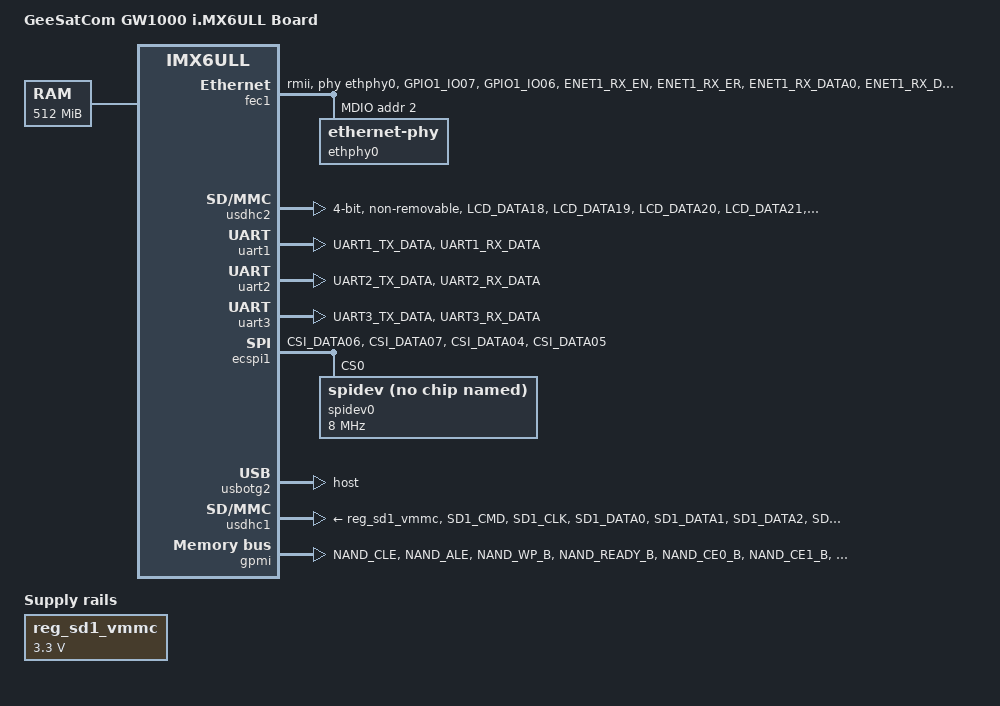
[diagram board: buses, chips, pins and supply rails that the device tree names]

/dts-v1/;

#include <dt-bindings/input/input.h>
#include "imx6ull.dtsi"

/ {
    model = "GeeSatCom GW1000 i.MX6ULL Board";
    compatible = "fsl,imx6ull-14x14-evk", "fsl,imx6ull";

	chosen {
		stdout-path = &uart1;
	};

    memory@80000000 {
		device_type = "memory";
		reg = <0x80000000 0x20000000>;
	};

	regulators {
		compatible = "simple-bus";
		#address-cells = <1>;
		#size-cells = <0>;

		reg_sd1_vmmc: sd1_regulator {
			compatible = "regulator-fixed";
			regulator-name = "VSD_3V3";
			regulator-min-microvolt = <3300000>;
			regulator-max-microvolt = <3300000>;
			regulator-always-on;
		};
	};
};

&lcdif {
	status = "disabled";
};

&fec1 {
	pinctrl-names = "default";
	pinctrl-0 = <&pinctrl_enet1>;
	phy-mode = "rmii";
	phy-handle = <&ethphy0>;
	phy-reset-gpios = <&gpio5 8 GPIO_ACTIVE_LOW>;
	phy-reset-duration = <10>;
	local-mac-address = [00 06 34 01 01 01];
	status = "okay";

	mdio {
		#address-cells = <1>;
		#size-cells = <0>;

		ethphy0: ethernet-phy@2 {
			reg = <2>;
			micrel,led-mode = <1>;
			clocks = <&clks IMX6UL_CLK_ENET_REF>;
			clock-names = "rmii-ref";
		};
	};
};

&qspi {
	status = "disabled";
};

&usdhc2 {
	status = "disabled";
};

&fec2 {
	status = "disabled";
};

&uart1 {
	pinctrl-names = "default";
	pinctrl-0 = <&pinctrl_uart1>;
	status = "okay";
};

&uart2 {
	pinctrl-names = "default";
	pinctrl-0 = <&pinctrl_uart2>;
	status = "okay";
};

&uart3 {
	pinctrl-names = "default";
	pinctrl-0 = <&pinctrl_uart3>;
	status = "okay";
};

&ecspi1 {
	pinctrl-names = "default";
	pinctrl-0 = <&pinctrl_ecspi1_1 &pinctrl_ecspi1_cs_1>;
	fsl,spi-num-chipselects = <1>;
	//cs-gpios = <&gpio4 26 0>;
	status = "okay";

	spidev0: spidev@0 {
		compatible = "spidev";
		spi-max-frequency = <8000000>;
		reg = <0>;
	};	
};

&usbotg2 {
	dr_mode = "host";
	disable-over-current;
	status = "okay";
};

&usdhc1 {
	pinctrl-names = "default", "state_100mhz", "state_200mhz";
	pinctrl-0 = <&pinctrl_usdhc1>;
	pinctrl-1 = <&pinctrl_usdhc1_100mhz>;
	pinctrl-2 = <&pinctrl_usdhc1_200mhz>;
	keep-power-in-suspend;
	broken-cd;
	vmmc-supply = <&reg_sd1_vmmc>;
	status = "okay";
};

&usdhc2 {
	pinctrl-names = "default";
	pinctrl-0 = <&pinctrl_wifi>;
	bus-width = <4>;
	keep-power-in-suspend;
	enable-sdio-wakeup;
	no-1-8-v;
	non-removable;
	cd-post;
	pm-ignore-notify;
	wifi-host;
	status = "okay";
};

&gpmi {
	pinctrl-names = "default";
	pinctrl-0 = <&pinctrl_gpmi_nand_1>;
	status = "okay";
	nand-on-flash-bbt;
};

&iomuxc {
	pinctrl-names = "default";
	pinctrl-0 = <&pinctrl_gpio3>;

	pinctrl_enet1: enet1grp {
		fsl,pins = <
			MX6UL_PAD_GPIO1_IO07__ENET1_MDC		0x1b0b0
			MX6UL_PAD_GPIO1_IO06__ENET1_MDIO	0x1b0b0
			MX6UL_PAD_ENET1_RX_EN__ENET1_RX_EN	0x1b0b0
			MX6UL_PAD_ENET1_RX_ER__ENET1_RX_ER	0x1b0b0
			MX6UL_PAD_ENET1_RX_DATA0__ENET1_RDATA00	0x1b0b0
			MX6UL_PAD_ENET1_RX_DATA1__ENET1_RDATA01	0x1b0b0
			MX6UL_PAD_ENET1_TX_EN__ENET1_TX_EN	0x1b0b0
			MX6UL_PAD_ENET1_TX_DATA0__ENET1_TDATA00	0x1b0b0
			MX6UL_PAD_ENET1_TX_DATA1__ENET1_TDATA01	0x1b0b0
			MX6UL_PAD_ENET1_TX_CLK__ENET1_REF_CLK1	0x4001b031
		>;
	};

	pinctrl_uart1: uart1grp {
		fsl,pins = <
			MX6UL_PAD_UART1_TX_DATA__UART1_DCE_TX 0x1b0b1
			MX6UL_PAD_UART1_RX_DATA__UART1_DCE_RX 0x1b0b1
		>;
	};

	pinctrl_uart2: uart2grp {
		fsl,pins = <
			MX6UL_PAD_UART2_TX_DATA__UART2_DCE_TX	0x1b0b1
			MX6UL_PAD_UART2_RX_DATA__UART2_DCE_RX	0x1b0b1
		>;
	};

	pinctrl_uart3: uart3grp {
		fsl,pins = <
			MX6UL_PAD_UART3_TX_DATA__UART3_DCE_TX 0x1b0b2
			MX6UL_PAD_UART3_RX_DATA__UART3_DCE_RX 0x1b0b2
		>;
	};

	pinctrl_ecspi1_cs_1: ecspi1_cs_grp-1 {
		fsl,pins = <
			MX6UL_PAD_CSI_DATA05__GPIO4_IO26  0x10b0
		>;
	};

	pinctrl_ecspi1_1: ecspi1grp-1 {
		fsl,pins = <
			MX6UL_PAD_CSI_DATA06__ECSPI1_MOSI 0x10b0
			MX6UL_PAD_CSI_DATA07__ECSPI1_MISO 0x10b0
			MX6UL_PAD_CSI_DATA04__ECSPI1_SCLK 0x10b0
		>;
	};

	pinctrl_gpio3: gpio3-grp {
		fsl,pins = <
			MX6UL_PAD_LCD_DATA07__GPIO3_IO12  0x79
			MX6UL_PAD_LCD_DATA08__GPIO3_IO13  0x79
			MX6UL_PAD_LCD_DATA16__GPIO3_IO21  0x79
		>;
	};

	pinctrl_wifi: wifigrp {
		fsl,pins = <
			MX6UL_PAD_LCD_DATA18__USDHC2_CMD 0x17059
			MX6UL_PAD_LCD_DATA19__USDHC2_CLK 0x10071
			MX6UL_PAD_LCD_DATA20__USDHC2_DATA0 0x17059
			MX6UL_PAD_LCD_DATA21__USDHC2_DATA1 0x17059
			MX6UL_PAD_LCD_DATA22__USDHC2_DATA2 0x17059
			MX6UL_PAD_LCD_DATA23__USDHC2_DATA3 0x17059
			MX6UL_PAD_ENET2_RX_DATA0__GPIO2_IO08 0x03029  /* WL_EN */
			MX6UL_PAD_ENET2_RX_DATA1__GPIO2_IO09 0x03029  /* WL_HOST_WAKE */
			MX6UL_PAD_LCD_DATA06__GPIO3_IO11 0x17059
		>;
	};

	pinctrl_usdhc1: usdhc1grp {
		fsl,pins = <
			MX6UL_PAD_SD1_CMD__USDHC1_CMD     0x17059
			MX6UL_PAD_SD1_CLK__USDHC1_CLK     0x10071
			MX6UL_PAD_SD1_DATA0__USDHC1_DATA0 0x17059
			MX6UL_PAD_SD1_DATA1__USDHC1_DATA1 0x17059
			MX6UL_PAD_SD1_DATA2__USDHC1_DATA2 0x17059
			MX6UL_PAD_SD1_DATA3__USDHC1_DATA3 0x17059
		>;
	};

	pinctrl_usdhc1_100mhz: usdhc1grp100mhz {
		fsl,pins = <
			MX6UL_PAD_SD1_CMD__USDHC1_CMD     0x170b9
			MX6UL_PAD_SD1_CLK__USDHC1_CLK     0x100b9
			MX6UL_PAD_SD1_DATA0__USDHC1_DATA0 0x170b9
			MX6UL_PAD_SD1_DATA1__USDHC1_DATA1 0x170b9
			MX6UL_PAD_SD1_DATA2__USDHC1_DATA2 0x170b9
			MX6UL_PAD_SD1_DATA3__USDHC1_DATA3 0x170b9
		>;
	};

	pinctrl_usdhc1_200mhz: usdhc1grp200mhz {
		fsl,pins = <
			MX6UL_PAD_SD1_CMD__USDHC1_CMD     0x170f9
			MX6UL_PAD_SD1_CLK__USDHC1_CLK     0x100f9
			MX6UL_PAD_SD1_DATA0__USDHC1_DATA0 0x170f9
			MX6UL_PAD_SD1_DATA1__USDHC1_DATA1 0x170f9
			MX6UL_PAD_SD1_DATA2__USDHC1_DATA2 0x170f9
			MX6UL_PAD_SD1_DATA3__USDHC1_DATA3 0x170f9
		>;
	};

	pinctrl_gpmi_nand_1: gpmi-nand-1 {
		fsl,pins = <
			MX6UL_PAD_NAND_CLE__RAWNAND_CLE         0xb0b1
			MX6UL_PAD_NAND_ALE__RAWNAND_ALE         0xb0b1
			MX6UL_PAD_NAND_WP_B__RAWNAND_WP_B       0xb0b1
			MX6UL_PAD_NAND_READY_B__RAWNAND_READY_B 0xb000
			MX6UL_PAD_NAND_CE0_B__RAWNAND_CE0_B     0xb0b1
			MX6UL_PAD_NAND_CE1_B__RAWNAND_CE1_B     0xb0b1
			MX6UL_PAD_NAND_RE_B__RAWNAND_RE_B       0xb0b1
			MX6UL_PAD_NAND_WE_B__RAWNAND_WE_B       0xb0b1
			MX6UL_PAD_NAND_DATA00__RAWNAND_DATA00   0xb0b1
			MX6UL_PAD_NAND_DATA01__RAWNAND_DATA01   0xb0b1
			MX6UL_PAD_NAND_DATA02__RAWNAND_DATA02   0xb0b1
			MX6UL_PAD_NAND_DATA03__RAWNAND_DATA03   0xb0b1
			MX6UL_PAD_NAND_DATA04__RAWNAND_DATA04   0xb0b1
			MX6UL_PAD_NAND_DATA05__RAWNAND_DATA05   0xb0b1
			MX6UL_PAD_NAND_DATA06__RAWNAND_DATA06   0xb0b1
			MX6UL_PAD_NAND_DATA07__RAWNAND_DATA07   0xb0b1
		>;
	};
};

&iomuxc_snvs {
	pinctrl-names = "default_snvs";
	pinctrl-0 = <&pinctrl_tt>;

	imx6ull {
		pinctrl_fec1_reset: fec1_resetgrp {
			fsl,pins = <
				MX6ULL_PAD_SNVS_TAMPER8__GPIO5_IO08	0x79
			>;
		};

		pinctrl_tt: tiantong_io {
			fsl,pins = <
				MX6ULL_PAD_SNVS_TAMPER0__GPIO5_IO00	0x79
				MX6ULL_PAD_SNVS_TAMPER1__GPIO5_IO01	0x79
				MX6ULL_PAD_SNVS_TAMPER2__GPIO5_IO02	0x79
				MX6ULL_PAD_SNVS_TAMPER3__GPIO5_IO03	0x79
				MX6ULL_PAD_SNVS_TAMPER4__GPIO5_IO04	0x79
				MX6ULL_PAD_SNVS_TAMPER5__GPIO5_IO05	0x79
			>;
		};
	};
};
